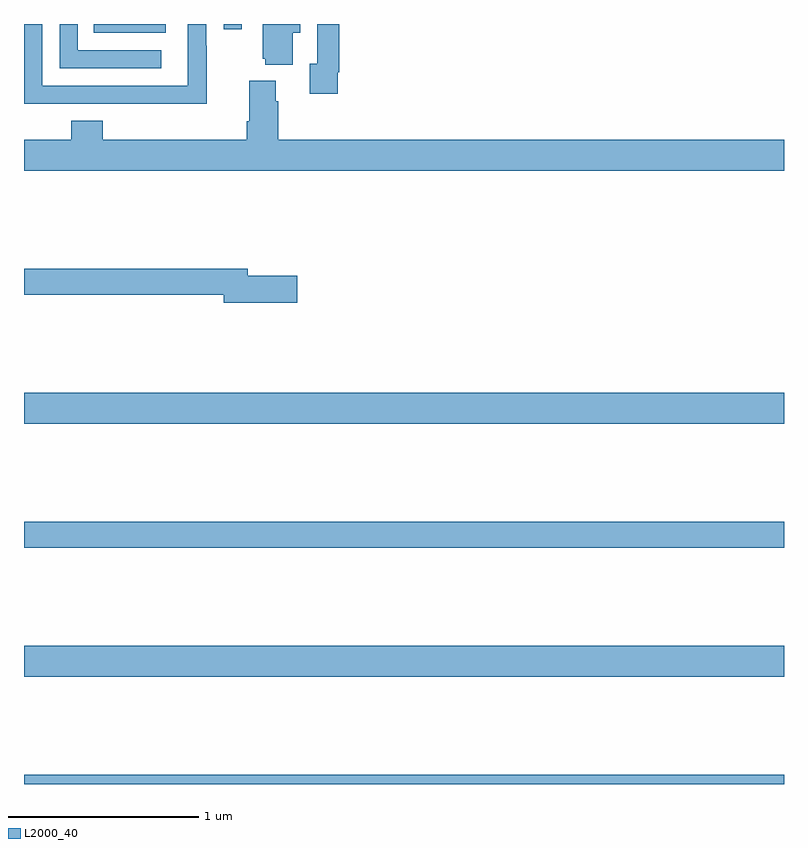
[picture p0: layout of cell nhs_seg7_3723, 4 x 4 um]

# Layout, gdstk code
import gdstk
lib = gdstk.Library(unit=1e-6, precision=1e-09)
def R(c, l, rs):  # rectangles x0, y0, x1, y1
    for r in rs: c.add(gdstk.rectangle(r[:2], r[2:], *l))
def P(c, l, *ps):  # polygons
    for p in ps: c.add(gdstk.Polygon(p, *l))
L2000_40 = (2000, 40)

nhs_seg7_3723 = lib.new_cell('nhs_seg7_3723')
R(nhs_seg7_3723, L2000_40, [(347,1052,351,1052.048), (347,1052.564,351,1052.728), (347,1053.244,351,1053.38), (347,1053.896,351,1054.06), (347.368,1055.954,347.746,1056), (348.051,1055.973,348.147,1056)])
P(nhs_seg7_3723, L2000_40, [(348.652,1055.746),(348.659,1055.746),(348.659,1056),(348.543,1056),(348.543,1055.79),(348.503,1055.79),(348.503,1055.634),(348.652,1055.634)],
  [(347.961,1055.885),(347.958,1055.885),(347.958,1056),(347.862,1056),(347.862,1055.676),(347.097,1055.676),(347.097,1056),(347.001,1056),(347.001,1055.906),(347,1055.906),(347,1055.805),(347.001,1055.805),(347.001,1055.58),(347.497,1055.58),(347.497,1055.579),(347.961,1055.579)],
  [(348.415,1055.954),(348.454,1055.954),(348.454,1056),(348.257,1056),(348.257,1055.817),(348.269,1055.817),(348.269,1055.786),(348.415,1055.786)],
  [(347.722,1055.862),(347.283,1055.862),(347.283,1056),(347.187,1056),(347.187,1055.766),(347.722,1055.766)],
  [(351,1055.392),(348.338,1055.392),(348.338,1055.594),(348.325,1055.594),(348.325,1055.701),(348.185,1055.701),(348.185,1055.488),(348.173,1055.488),(348.173,1055.392),(347.414,1055.392),(347.414,1055.491),(347.249,1055.491),(347.249,1055.392),(347,1055.392),(347,1055.228),(351,1055.228)],
  [(348.439,1054.676),(348.178,1054.676),(348.178,1054.712),(347,1054.712),(347,1054.576),(348.05,1054.576),(348.05,1054.534),(348.439,1054.534)])

lib.write_gds('nhs_seg7_3723.gds')
